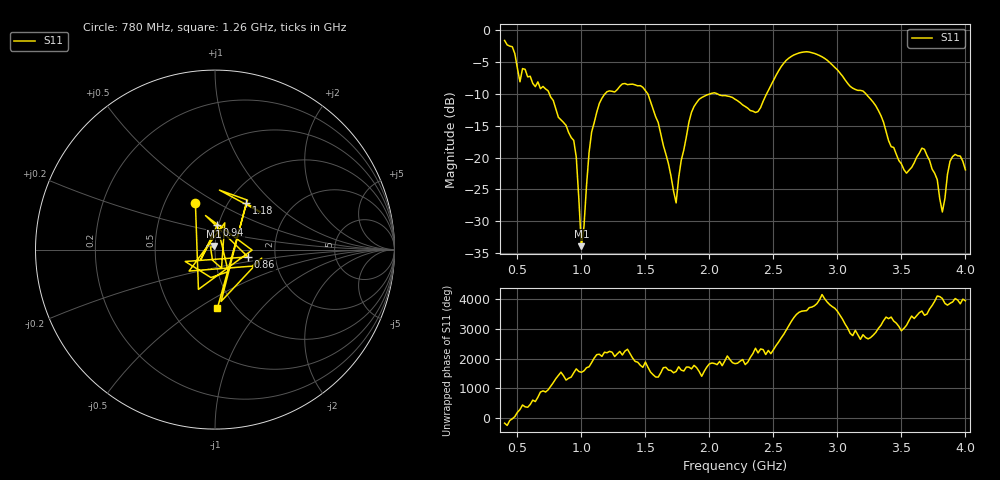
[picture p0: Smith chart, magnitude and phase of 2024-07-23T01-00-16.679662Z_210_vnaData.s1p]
!Created with skrf (http://scikit-rf.org).
# Hz S RI R 50.0
!freq ReS11 ImS11
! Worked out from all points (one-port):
!   181 points, 400 MHz to 4 GHz, reference 50 ohm
!   lowest |S11| = -33.9 dB at 1 GHz (marker M1), VSWR 1.04, Z = 49.5 + j1.96 ohm
!   |S11| at or under -10 dB: 749 MHz to 1.186 GHz (436.9 MHz wide, 45.2 % of centre); 1.518 GHz to 2.012 GHz (494.2 MHz wide, 28 % of centre); 3.221 GHz to end of sweep (the widest 3 of 4)
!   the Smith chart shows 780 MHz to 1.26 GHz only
!   S11 on the Smith chart (normalised r, x): 780 MHz: 0.71, +0.40; 860 MHz: 1.44, -0.12; 940 MHz: 0.99, +0.27; 1.18 GHz: 1.20, +0.69; 1.26 GHz: 0.83, -0.60
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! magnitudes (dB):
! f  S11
! 400 MHz  -1.7
! 460 MHz  -2.7
! 520 MHz  -8.1
! 560 MHz  -6.2
! 780 MHz  -11.1
! 860 MHz  -14.5
! 940 MHz  -17.3
! 960 MHz  -20.0
! 1 GHz  -33.9
! 1.08 GHz  -16.0
! 1.18 GHz  -10.1
! 1.26 GHz  -9.7
! 1.3 GHz  -8.9
! 1.52 GHz  -10.1
! 1.74 GHz  -27.1
! 1.76 GHz  -23.2
! 1.9 GHz  -11.4
! 2.2 GHz  -10.9
! 2.38 GHz  -12.8
! 2.66 GHz  -3.9
! 3.1 GHz  -8.9
! 3.3 GHz  -11.9
! 3.56 GHz  -22.0
! 3.68 GHz  -18.7
! 3.78 GHz  -23.5
! 3.82 GHz  -28.5
! 3.9 GHz  -19.9
! 4 GHz  -21.9
